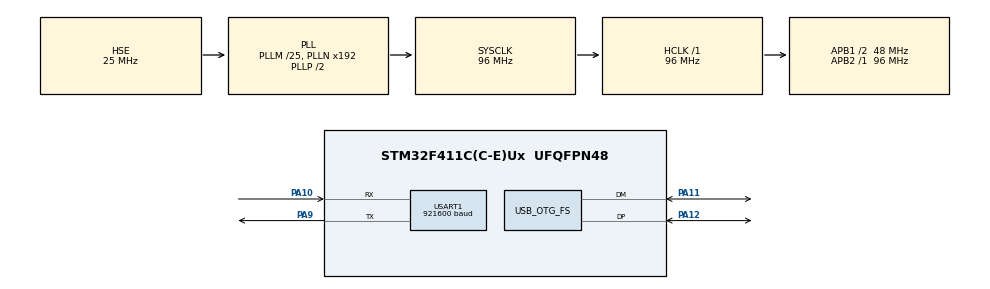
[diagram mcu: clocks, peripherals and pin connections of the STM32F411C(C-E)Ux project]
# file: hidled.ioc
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FREERTOS.Tasks01=mainTask,0,128,startMainTask,Default,NULL,Dynamic,NULL,NULL;aliveTask,-2,128,startAliveTask,Default,NULL,Dynamic,NULL,NULL
FREERTOS.configENABLE_FPU=1
FREERTOS.configUSE_NEWLIB_REENTRANT=1
Mcu.Family=STM32F4
Mcu.Name=STM32F411C(C-E)Ux
Mcu.Package=UFQFPN48
NVIC.OTG_FS_IRQn=true\:5\:0\:false\:false\:true\:true\:true\:true\:true
NVIC.PriorityGroup=NVIC_PRIORITYGROUP_4
NVIC.TIM1_TRG_COM_TIM11_IRQn=true\:15\:0\:false\:false\:true\:false\:false\:true\:true
NVIC.TimeBase=TIM1_TRG_COM_TIM11_IRQn
NVIC.TimeBaseIP=TIM11
PA10.Mode=Asynchronous
PA10.Signal=USART1_RX
PA11.Mode=Device_Only
PA11.Signal=USB_OTG_FS_DM
PA12.Mode=Device_Only
PA12.Signal=USB_OTG_FS_DP
PA13.Mode=Serial_Wire
PA13.Signal=SYS_JTMS-SWDIO
PA14.Mode=Serial_Wire
PA14.Signal=SYS_JTCK-SWCLK
PA9.Mode=Asynchronous
PA9.Signal=USART1_TX
PH0\ -\ OSC_IN.Mode=HSE-External-Oscillator
PH0\ -\ OSC_IN.Signal=RCC_OSC_IN
PH1\ -\ OSC_OUT.Mode=HSE-External-Oscillator
PH1\ -\ OSC_OUT.Signal=RCC_OSC_OUT
ProjectManager.HeapSize=0x200
ProjectManager.StackSize=0x400
ProjectManager.TargetToolchain=STM32CubeIDE
RCC.48MHZClocksFreq_Value=48000000
RCC.AHBFreq_Value=96000000
RCC.APB1CLKDivider=RCC_HCLK_DIV2
RCC.APB1Freq_Value=48000000
RCC.APB1TimFreq_Value=96000000
RCC.APB2Freq_Value=96000000
RCC.APB2TimFreq_Value=96000000
RCC.CortexFreq_Value=96000000
RCC.HCLKFreq_Value=96000000
RCC.HSE_VALUE=25000000
RCC.HSI_VALUE=16000000
RCC.LSE_VALUE=32768
RCC.PLLM=25
RCC.SYSCLKFreq_VALUE=96000000
RCC.SYSCLKSource=RCC_SYSCLKSOURCE_PLLCLK
RCC.VCOOutputFreq_Value=192000000
USART1.BaudRate=921600
USART1.VirtualMode=VM_ASYNC
USB_OTG_FS.VirtualMode=Device_Only
VP_FREERTOS_VS_CMSIS_V1.Mode=CMSIS_V1
VP_SYS_VS_tim11.Mode=TIM11
board=custom

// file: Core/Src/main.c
/* USER CODE BEGIN Header */
/**
  ******************************************************************************
  * @file           : main.c
  * @brief          : Main program body
  ******************************************************************************
  * @attention
  *
  * <h2><center>&copy; Copyright (c) 2021 STMicroelectronics.
  * All rights reserved.</center></h2>
  *
  * This software component is licensed by ST under BSD 3-Clause license,
  * the "License"; You may not use this file except in compliance with the
  * License. You may obtain a copy of the License at:
  *                        opensource.org/licenses/BSD-3-Clause
  *
  ******************************************************************************
  */
/* USER CODE END Header */
#include "main.h"
#include "cmsis_os.h"

/* USER CODE BEGIN Includes */
#include "stdio.h"
#include "string.h"
#include "usb_device.h"
#include "usbd_custom_hid_if.h"
/* USER CODE END Includes */

UART_HandleTypeDef huart1;

extern PCD_HandleTypeDef hpcd_USB_OTG_FS;

osThreadId mainTaskHandle;
osThreadId aliveTaskHandle;

void SystemClock_Config(void);
static void MX_GPIO_Init(void);
static void MX_USART1_UART_Init(void);
static void MX_USB_OTG_FS_PCD_Init(void);
void startMainTask(void const * argument);
void startAliveTask(void const * argument);

/* USER CODE BEGIN 0 */

// Send printf to uart1
int _write(int fd, char* ptr, int len) {
  HAL_StatusTypeDef hstatus;

  if (fd == 1 || fd == 2) {
    hstatus = HAL_UART_Transmit(&huart1, (uint8_t *) ptr, len, HAL_MAX_DELAY);
    if (hstatus == HAL_OK)
      return len;
    else
      return -1;
  }
  return -1;
}

/* USER CODE END 0 */

int main(void)
{

  /* MCU Configuration--------------------------------------------------------*/

  /* Reset of all peripherals, Initializes the Flash interface and the Systick. */
  HAL_Init();

  /* Configure the system clock */
  SystemClock_Config();

  /* Initialize all configured peripherals */
  MX_GPIO_Init();
  MX_USART1_UART_Init();
  /* USER CODE BEGIN 2 */

  MX_USB_OTG_FS_PCD_Init();
  MX_USB_DEVICE_Init();

  DBG("Starting");

  /* USER CODE END 2 */

  /* Create the thread(s) */
  /* definition and creation of mainTask */
  osThreadDef(mainTask, startMainTask, osPriorityNormal, 0, 128);
  mainTaskHandle = osThreadCreate(osThread(mainTask), NULL);

  /* definition and creation of aliveTask */
  osThreadDef(aliveTask, startAliveTask, osPriorityLow, 0, 128);
  aliveTaskHandle = osThreadCreate(osThread(aliveTask), NULL);

  /* Start scheduler */
  osKernelStart();

  /* We should never get here as control is now taken by the scheduler */

  /* Infinite loop */
  while (1)
  {

  }
}

void SystemClock_Config(void)
{
  RCC_OscInitTypeDef RCC_OscInitStruct = {0};
  RCC_ClkInitTypeDef RCC_ClkInitStruct = {0};

  /** Configure the main internal regulator output voltage
  */
  __HAL_RCC_PWR_CLK_ENABLE();
  __HAL_PWR_VOLTAGESCALING_CONFIG(PWR_REGULATOR_VOLTAGE_SCALE1);

  /** Initializes the RCC Oscillators according to the specified parameters
  * in the RCC_OscInitTypeDef structure.
  */
  RCC_OscInitStruct.OscillatorType = RCC_OSCILLATORTYPE_HSE;
  RCC_OscInitStruct.HSEState = RCC_HSE_ON;
  RCC_OscInitStruct.PLL.PLLState = RCC_PLL_ON;
  RCC_OscInitStruct.PLL.PLLSource = RCC_PLLSOURCE_HSE;
  RCC_OscInitStruct.PLL.PLLM = 25;
  RCC_OscInitStruct.PLL.PLLN = 192;
  RCC_OscInitStruct.PLL.PLLP = RCC_PLLP_DIV2;
  RCC_OscInitStruct.PLL.PLLQ = 4;
  if (HAL_RCC_OscConfig(&RCC_OscInitStruct) != HAL_OK)
  {
    Error_Handler();
  }

  /** Initializes the CPU, AHB and APB buses clocks
  */
  RCC_ClkInitStruct.ClockType = RCC_CLOCKTYPE_HCLK|RCC_CLOCKTYPE_SYSCLK
                              |RCC_CLOCKTYPE_PCLK1|RCC_CLOCKTYPE_PCLK2;
  RCC_ClkInitStruct.SYSCLKSource = RCC_SYSCLKSOURCE_PLLCLK;
  RCC_ClkInitStruct.AHBCLKDivider = RCC_SYSCLK_DIV1;
  RCC_ClkInitStruct.APB1CLKDivider = RCC_HCLK_DIV2;
  RCC_ClkInitStruct.APB2CLKDivider = RCC_HCLK_DIV1;

  if (HAL_RCC_ClockConfig(&RCC_ClkInitStruct, FLASH_LATENCY_3) != HAL_OK)
  {
    Error_Handler();
  }
}

static void MX_USART1_UART_Init(void)
{

  huart1.Instance = USART1;
  huart1.Init.BaudRate = 921600;
  huart1.Init.WordLength = UART_WORDLENGTH_8B;
  huart1.Init.StopBits = UART_STOPBITS_1;
  huart1.Init.Parity = UART_PARITY_NONE;
  huart1.Init.Mode = UART_MODE_TX_RX;
  huart1.Init.HwFlowCtl = UART_HWCONTROL_NONE;
  huart1.Init.OverSampling = UART_OVERSAMPLING_16;
  if (HAL_UART_Init(&huart1) != HAL_OK)
  {
    Error_Handler();
  }

}

static void MX_USB_OTG_FS_PCD_Init(void)
{

  hpcd_USB_OTG_FS.Instance = USB_OTG_FS;
  hpcd_USB_OTG_FS.Init.dev_endpoints = 4;
  hpcd_USB_OTG_FS.Init.speed = PCD_SPEED_FULL;
  hpcd_USB_OTG_FS.Init.dma_enable = DISABLE;
  hpcd_USB_OTG_FS.Init.phy_itface = PCD_PHY_EMBEDDED;
  hpcd_USB_OTG_FS.Init.Sof_enable = DISABLE;
  hpcd_USB_OTG_FS.Init.low_power_enable = DISABLE;
  hpcd_USB_OTG_FS.Init.lpm_enable = DISABLE;
  hpcd_USB_OTG_FS.Init.vbus_sensing_enable = DISABLE;
  hpcd_USB_OTG_FS.Init.use_dedicated_ep1 = DISABLE;
  if (HAL_PCD_Init(&hpcd_USB_OTG_FS) != HAL_OK)
  {
    Error_Handler();
  }

}

static void MX_GPIO_Init(void)
{

  /* GPIO Ports Clock Enable */
  __HAL_RCC_GPIOH_CLK_ENABLE();
  __HAL_RCC_GPIOA_CLK_ENABLE();

}

void startMainTask(void const * argument)
{
  /* USER CODE BEGIN 5 */

	char buf[32];

  /* Infinite loop */
  for(;;)
  {
	sprintf(buf, "Tick %lu", osKernelSysTick() / 1000);
	USBD_CUSTOM_HID_SendReport_FS((uint8_t *)&buf, strlen(buf));
    osDelay(1000);
  }
  /* USER CODE END 5 */
}

void startAliveTask(void const * argument)
{
  /* USER CODE BEGIN startAliveTask */
  /* Infinite loop */
  for(;;)
  {
	  DBG("Alive for %lu seconds!", osKernelSysTick() / 1000);
	  osDelay(10000);
  }
  /* USER CODE END startAliveTask */
}

void HAL_TIM_PeriodElapsedCallback(TIM_HandleTypeDef *htim)
{
  if (htim->Instance == TIM11) {
    HAL_IncTick();
  }
}

void Error_Handler(void)
{
  __disable_irq();
  while (1)
  {
  }
}

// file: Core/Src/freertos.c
/* USER CODE BEGIN Header */
/**
  ******************************************************************************
  * File Name          : freertos.c
  * Description        : Code for freertos applications
  ******************************************************************************
  * @attention
  *
  * <h2><center>&copy; Copyright (c) 2021 STMicroelectronics.
  * All rights reserved.</center></h2>
  *
  * This software component is licensed by ST under Ultimate Liberty license
  * SLA0044, the "License"; You may not use this file except in compliance with
  * the License. You may obtain a copy of the License at:
  *                             www.st.com/SLA0044
  *
  ******************************************************************************
  */
/* USER CODE END Header */

#include "FreeRTOS.h"
#include "task.h"
#include "main.h"

/* GetIdleTaskMemory prototype (linked to static allocation support) */
void vApplicationGetIdleTaskMemory( StaticTask_t **ppxIdleTaskTCBBuffer, StackType_t **ppxIdleTaskStackBuffer, uint32_t *pulIdleTaskStackSize );

/* USER CODE BEGIN GET_IDLE_TASK_MEMORY */
static StaticTask_t xIdleTaskTCBBuffer;
static StackType_t xIdleStack[configMINIMAL_STACK_SIZE];

void vApplicationGetIdleTaskMemory( StaticTask_t **ppxIdleTaskTCBBuffer, StackType_t **ppxIdleTaskStackBuffer, uint32_t *pulIdleTaskStackSize )
{
  *ppxIdleTaskTCBBuffer = &xIdleTaskTCBBuffer;
  *ppxIdleTaskStackBuffer = &xIdleStack[0];
  *pulIdleTaskStackSize = configMINIMAL_STACK_SIZE;
  /* place for user code */
}
/* USER CODE END GET_IDLE_TASK_MEMORY */
